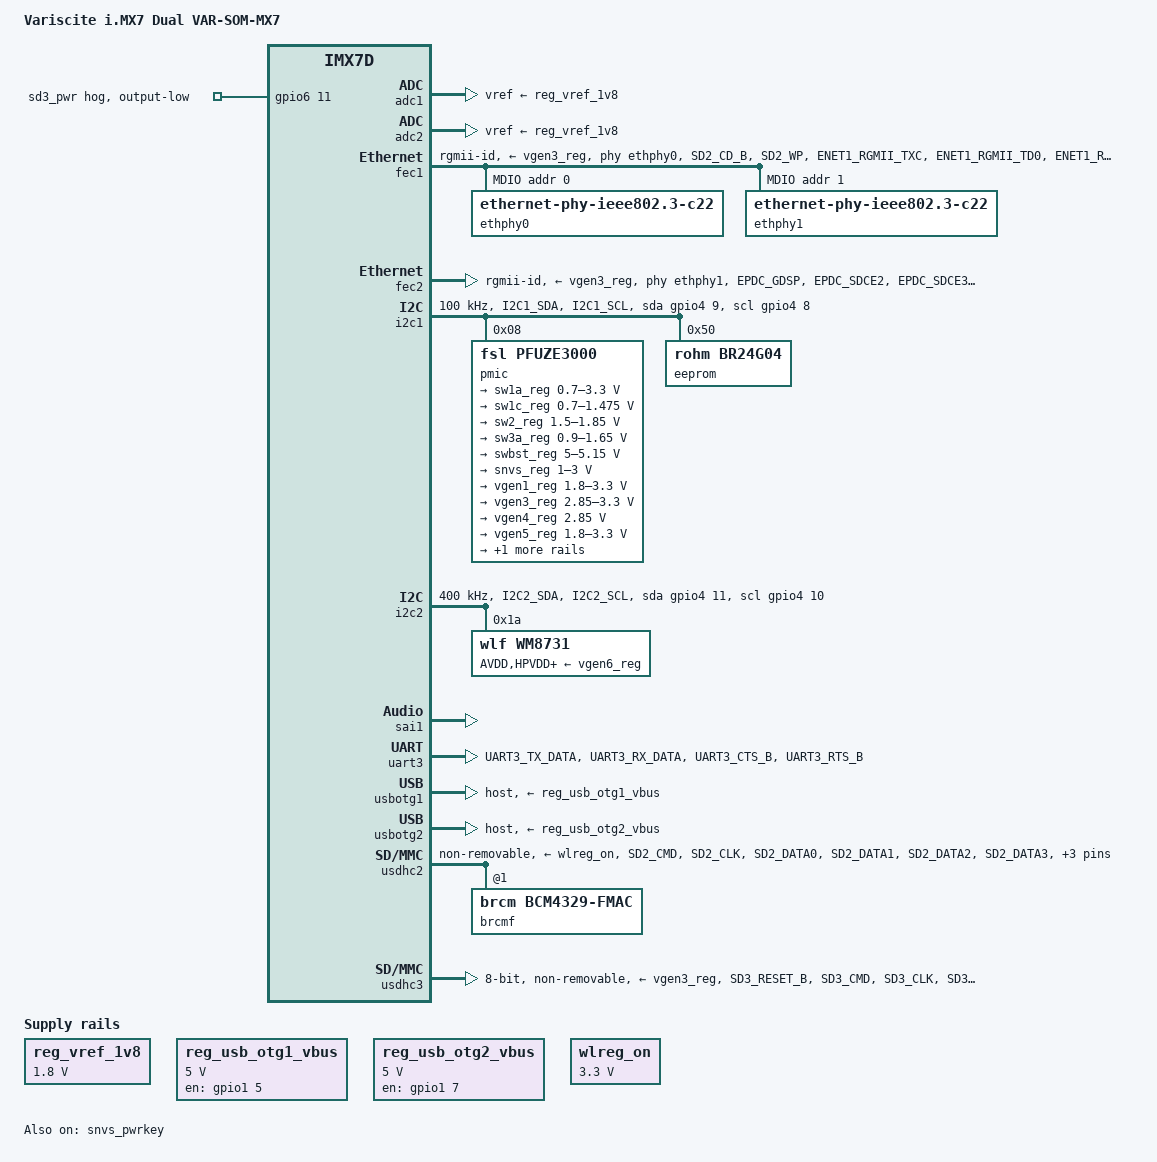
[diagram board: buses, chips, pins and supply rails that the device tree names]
// SPDX-License-Identifier: GPL-2.0-only
/*
 * Copyright (C) 2015 Freescale Semiconductor, Inc.
 * Copyright (C) 2016-2017 Variscite Ltd.
 * Copyright (C) 2022 Philipp Zabel, Pengutronix
 * Copyright (C) 2022 Roland Hieber, Pengutronix
 *
 * This program is free software; you can redistribute it and/or modify
 * it under the terms of the GNU General Public License version 2 as
 * published by the Free Software Foundation.
 */

#include <dt-bindings/input/input.h>
#include "imx7d.kernel.dtsi"

/ {
	model = "Variscite i.MX7 Dual VAR-SOM-MX7";
	compatible = "variscite,var-som-mx7", "fsl,imx7d";

	reg_vref_1v8: regulator-vref-1v8 {
		compatible = "regulator-fixed";
		regulator-name = "vref-1v8";
		regulator-min-microvolt = <1800000>;
		regulator-max-microvolt = <1800000>;
	};

	reg_usb_otg1_vbus: regulator-usbotg1-vbus {
		compatible = "regulator-fixed";
		pinctrl-names = "default";
		pinctrl-0 = <&pinctrl_usbotg1_vbus>;
		regulator-name = "usb_otg1_vbus";
		regulator-min-microvolt = <5000000>;
		regulator-max-microvolt = <5000000>;
		gpio = <&gpio1 5 GPIO_ACTIVE_HIGH>;
		enable-active-high;
	};

	reg_usb_otg2_vbus: regulator-usbotg2-vbus {
		compatible = "regulator-fixed";
		pinctrl-names = "default";
		pinctrl-0 = <&pinctrl_usbotg2_vbus>;
		regulator-name = "usb_otg2_vbus";
		regulator-min-microvolt = <5000000>;
		regulator-max-microvolt = <5000000>;
		gpio = <&gpio1 7 GPIO_ACTIVE_HIGH>;
		enable-active-high;
	};

	wlreg_on: regulator-wlreg-on {
		compatible = "regulator-fixed";
		regulator-min-microvolt = <3300000>;
		regulator-max-microvolt = <3300000>;
		regulator-name = "wlreg_on";
	};

	sound {
		compatible = "simple-audio-card";
		simple-audio-card,name = "wm8731audio";
		simple-audio-card,widgets =
			"Headphone", "Headphone Jack",
			"Line", "Line Jack",
			"Microphone", "Mic Jack";
		simple-audio-card,routing =
			"Headphone Jack", "RHPOUT",
			"Headphone Jack", "LHPOUT",
			"LLINEIN", "Line Jack",
			"RLINEIN", "Line Jack",
			"MICIN", "Mic Bias",
			"Mic Bias", "Mic Jack";
		simple-audio-card,format = "i2s";
		simple-audio-card,bitclock-master = <&sound_master>;
		simple-audio-card,frame-master = <&sound_master>;

		sound_master: simple-audio-card,cpu {
			sound-dai = <&sai1>;
		};

		simple-audio-card,codec {
			sound-dai = <&wm8731>;
			system-clock-frequency = <12288000>;
		};
	};
};

&adc1 {
	vref-supply = <&reg_vref_1v8>;
};

&adc2 {
	vref-supply = <&reg_vref_1v8>;
};

&cpu0 {
	cpu-supply = <&sw1a_reg>;
};

&cpu1 {
	cpu-supply = <&sw1a_reg>;
};

&fec1 {
	pinctrl-names = "default";
	pinctrl-0 = <&pinctrl_enet1>;
	phy-supply = <&vgen3_reg>;
	assigned-clocks = <&clks IMX7D_ENET_PHY_REF_ROOT_SRC>,
			  <&clks IMX7D_ENET_AXI_ROOT_SRC>,
			  <&clks IMX7D_ENET1_TIME_ROOT_SRC>,
			  <&clks IMX7D_ENET1_TIME_ROOT_CLK>,
			  <&clks IMX7D_ENET_AXI_ROOT_CLK>;
	assigned-clock-parents = <&clks IMX7D_PLL_ENET_MAIN_25M_CLK>,
				 <&clks IMX7D_PLL_ENET_MAIN_250M_CLK>,
				 <&clks IMX7D_PLL_ENET_MAIN_100M_CLK>;
	assigned-clock-rates = <0>, <0>, <0>, <100000000>, <250000000>;
	phy-mode = "rgmii-id";
	phy-handle = <&ethphy0>;
	phy-reset-gpios = <&gpio5 11 GPIO_ACTIVE_LOW>;
	phy-reset-post-delay = <20>;

	mdio {
		#address-cells = <1>;
		#size-cells = <0>;

		ethphy0: ethernet-phy@0 {
			compatible = "ethernet-phy-ieee802.3-c22";
			reg = <0>;
		};

		ethphy1: ethernet-phy@1 {
			compatible = "ethernet-phy-ieee802.3-c22";
			reg = <1>;
		};
	};
};

&fec2 {
	pinctrl-names = "default";
	pinctrl-0 = <&pinctrl_enet2>;
	phy-supply = <&vgen3_reg>;
	assigned-clocks = <&clks IMX7D_ENET_PHY_REF_ROOT_SRC>,
			  <&clks IMX7D_ENET_AXI_ROOT_SRC>,
			  <&clks IMX7D_ENET2_TIME_ROOT_SRC>,
			  <&clks IMX7D_ENET2_TIME_ROOT_CLK>,
			  <&clks IMX7D_ENET_AXI_ROOT_CLK>;
	assigned-clock-parents = <&clks IMX7D_PLL_ENET_MAIN_25M_CLK>,
				 <&clks IMX7D_PLL_ENET_MAIN_250M_CLK>,
				 <&clks IMX7D_PLL_ENET_MAIN_100M_CLK>;
	assigned-clock-rates = <0>, <0>, <0>, <100000000>, <250000000>;
	phy-mode = "rgmii-id";
	phy-handle = <&ethphy1>;
	phy-reset-gpios = <&gpio4 3 GPIO_ACTIVE_LOW>;
	phy-reset-post-delay = <20>;
};

&gpio6 {
	sd3-pwr-hog {
		gpio-hog;
		gpios = <11 0>;
		output-low;
		line-name = "sd3_pwr";
	};
};

&i2c1 {
	clock-frequency = <100000>;
	pinctrl-names = "default", "gpio";
	pinctrl-0 = <&pinctrl_i2c1>;
	pinctrl-1 = <&pinctrl_i2c1_gpio>;
	scl-gpios = <&gpio4 8 (GPIO_ACTIVE_HIGH | GPIO_OPEN_DRAIN)>;
	sda-gpios = <&gpio4 9 (GPIO_ACTIVE_HIGH | GPIO_OPEN_DRAIN)>;
	status = "okay";

	pmic@8 {
		compatible = "fsl,pfuze3000";
		reg = <0x08>;

		regulators {
			sw1a_reg: sw1a {
				regulator-min-microvolt = <700000>;
				regulator-max-microvolt = <3300000>;
				regulator-boot-on;
				regulator-always-on;
				regulator-ramp-delay = <6250>;
			};

			/* use sw1c_reg to align with pfuze100/pfuze200 */
			sw1c_reg: sw1b {
				regulator-min-microvolt = <700000>;
				regulator-max-microvolt = <1475000>;
				regulator-boot-on;
				regulator-always-on;
				regulator-ramp-delay = <6250>;
			};

			sw2_reg: sw2 {
				regulator-min-microvolt = <1500000>;
				regulator-max-microvolt = <1850000>;
				regulator-boot-on;
				regulator-always-on;
			};

			sw3a_reg: sw3 {
				regulator-min-microvolt = <900000>;
				regulator-max-microvolt = <1650000>;
				regulator-boot-on;
				regulator-always-on;
			};

			swbst_reg: swbst {
				regulator-min-microvolt = <5000000>;
				regulator-max-microvolt = <5150000>;
			};

			snvs_reg: vsnvs {
				regulator-min-microvolt = <1000000>;
				regulator-max-microvolt = <3000000>;
				regulator-boot-on;
				regulator-always-on;
			};

			vref_reg: vrefddr {
				regulator-boot-on;
				regulator-always-on;
			};

			vgen1_reg: vldo1 {
				regulator-min-microvolt = <1800000>;
				regulator-max-microvolt = <3300000>;
				regulator-always-on;
			};

			vgen2_reg: vldo2 {
				status = "disabled";
			};

			vgen3_reg: vccsd {
				regulator-min-microvolt = <2850000>;
				regulator-max-microvolt = <3300000>;
				regulator-boot-on;

				regulator-state-mem {
					regulator-off-in-suspend;
				};
			};

			vgen4_reg: v33 {
				regulator-min-microvolt = <2850000>;
				regulator-max-microvolt = <2850000>;
				regulator-always-on;
			};

			vgen5_reg: vldo3 {
				regulator-min-microvolt = <1800000>;
				regulator-max-microvolt = <3300000>;
				regulator-always-on;
			};

			vgen6_reg: vldo4 {
				regulator-min-microvolt = <1800000>;
				regulator-max-microvolt = <3300000>;
				regulator-always-on;
			};
		};
	};

	eeprom@50 {
		compatible = "rohm,br24g04", "atmel,24c04";
		reg = <0x50>;
		pagesize = <16>;
		num-addresses = <2>;
		address-width = <8>;
		read-only;
	};
};

&i2c2 {
	clock-frequency = <400000>;
	pinctrl-names = "default", "gpio";
	pinctrl-0 = <&pinctrl_i2c2>;
	pinctrl-1 = <&pinctrl_i2c2_gpio>;
	scl-gpios = <&gpio4 10 (GPIO_ACTIVE_HIGH | GPIO_OPEN_DRAIN)>;
	sda-gpios = <&gpio4 11 (GPIO_ACTIVE_HIGH | GPIO_OPEN_DRAIN)>;
	status = "okay";

	wm8731: wm8731@1a {
		#sound-dai-cells = <0>;
		AVDD-supply = <&vgen6_reg>;
		HPVDD-supply = <&vgen6_reg>;
		DBVDD-supply = <&vgen6_reg>;
		DCVDD-supply = <&vgen6_reg>;
		compatible = "wlf,wm8731";
		reg = <0x1a>;
		clocks = <&clks IMX7D_AUDIO_MCLK_ROOT_CLK>;
		clock-names = "mclk";
		assigned-clocks = <&clks IMX7D_AUDIO_MCLK_ROOT_SRC>,
				  <&clks IMX7D_PLL_AUDIO_POST_DIV>,
				  <&clks IMX7D_AUDIO_MCLK_ROOT_DIV>;
		assigned-clock-parents = <&clks IMX7D_PLL_AUDIO_POST_DIV>;
		assigned-clock-rates = <0>, <884736000>, <12288000>;
	};
};

&sai1 {
	assigned-clocks = <&clks IMX7D_AUDIO_MCLK_ROOT_SRC>,
			  <&clks IMX7D_PLL_AUDIO_POST_DIV>,
			  <&clks IMX7D_AUDIO_MCLK_ROOT_DIV>;
	assigned-clock-parents = <&clks IMX7D_PLL_AUDIO_POST_DIV>;
	assigned-clock-rates = <0>, <884736000>, <12288000>;
	status = "okay";
};

&snvs_pwrkey {
	status = "okay";
};

&snvs_rtc {
	status = "disabled";
};

&uart1 {
	assigned-clocks = <&clks IMX7D_UART1_ROOT_SRC>;
	assigned-clock-parents = <&clks IMX7D_OSC_24M_CLK>;
};

&uart2 {
	assigned-clocks = <&clks IMX7D_UART2_ROOT_SRC>;
	assigned-clock-parents = <&clks IMX7D_OSC_24M_CLK>;
};

&uart3 {
	assigned-clocks = <&clks IMX7D_UART3_ROOT_SRC>;
	assigned-clock-parents = <&clks IMX7D_PLL_SYS_MAIN_240M_CLK>;
	pinctrl-names = "default";
	pinctrl-0 = <&pinctrl_uart3>;
	uart-has-rtscts;
	status = "okay";
};

&usbotg1 {
	vbus-supply = <&reg_usb_otg1_vbus>;
	dr_mode = "host";
};

&usbotg2 {
	vbus-supply = <&reg_usb_otg2_vbus>;
	dr_mode = "host";
};

&usdhc2 {
	#address-cells = <1>;
	#size-cells = <0>;
	pinctrl-names = "default", "state_100mhz", "state_200mhz", "sleep";
	pinctrl-0 = <&pinctrl_usdhc2>, <&pinctrl_wlan>, <&pinctrl_bt>;
	pinctrl-1 = <&pinctrl_usdhc2_100mhz>, <&pinctrl_wlan>, <&pinctrl_bt>;
	pinctrl-2 = <&pinctrl_usdhc2_200mhz>, <&pinctrl_wlan>, <&pinctrl_bt>;
	pinctrl-3 = <&pinctrl_usdhc2_sleep>, <&pinctrl_wlan_sleep>, <&pinctrl_bt_sleep>;
	keep-power-in-suspend;
	non-removable;
	vmmc-supply = <&wlreg_on>;
	status = "okay";

	brcmf: wifi@1 {
		reg = <1>;
		compatible = "brcm,bcm4329-fmac";
	};
};

/* eMMC */
&usdhc3 {
	pinctrl-names = "default", "state_100mhz", "state_200mhz";
	pinctrl-0 = <&pinctrl_usdhc3_ctrl>, <&pinctrl_usdhc3>;
	pinctrl-1 = <&pinctrl_usdhc3_ctrl>, <&pinctrl_usdhc3_100mhz>;
	pinctrl-2 = <&pinctrl_usdhc3_ctrl>, <&pinctrl_usdhc3_200mhz>;
	vmmc-supply = <&vgen3_reg>;
	assigned-clocks = <&clks IMX7D_USDHC3_ROOT_CLK>;
	assigned-clock-rates = <400000000>;
	no-1-8-v;
	no-sdio;
	no-sd;
	bus-width = <8>;
	non-removable;
	status = "okay";
};

&wdog1 {
	pinctrl-names = "default";
	pinctrl-0 = <&pinctrl_wdog>;
	fsl,ext-reset-output;
};

&iomuxc_lpsr {
	pinctrl_usbotg1_vbus: usbotg1-vbusgrp {
		fsl,pins = <
			MX7D_PAD_LPSR_GPIO1_IO05__GPIO1_IO5		0x14
		>;
	};

	pinctrl_usbotg2_vbus: usbotg2-vbusgrp {
		fsl,pins = <
			MX7D_PAD_LPSR_GPIO1_IO07__GPIO1_IO7		0x14
		>;
	};

	pinctrl_wdog: wdoggrp {
		fsl,pins = <
			MX7D_PAD_LPSR_GPIO1_IO00__WDOG1_WDOG_B		0x74
		>;
	};

	pinctrl_wlan: wlangrp {
		fsl,pins = <
			MX7D_PAD_LPSR_GPIO1_IO04__GPIO1_IO4		0x09 /* WL_REG_ON */
			MX7D_PAD_LPSR_GPIO1_IO03__OSC32K_32K_OUT	0xb0 /* WIFI Slow clock */
		>;
	};

	pinctrl_wlan_sleep: wlan-sleepgrp {
		fsl,pins = <
			MX7D_PAD_LPSR_GPIO1_IO04__GPIO1_IO4		0x10 /* WL_REG_ON */
			MX7D_PAD_LPSR_GPIO1_IO03__OSC32K_32K_OUT	0x10 /* WIFI Slow clock */
		>;
	};
};

&iomuxc {

	pinctrl_bt: btgrp {
		fsl,pins = <
			MX7D_PAD_GPIO1_IO14__GPIO1_IO14		0x80000000  /* bt reg on */
		>;
	};

	pinctrl_bt_sleep: bt-sleepgrp {
		fsl,pins = <
			MX7D_PAD_GPIO1_IO14__GPIO1_IO14			0x10  /* bt reg on */
		>;
	};

	pinctrl_enet1: enet1grp {
		fsl,pins = <
			MX7D_PAD_SD2_CD_B__ENET1_MDIO			0x3
			MX7D_PAD_SD2_WP__ENET1_MDC			0x3
			MX7D_PAD_ENET1_RGMII_TXC__ENET1_RGMII_TXC	0x1
			MX7D_PAD_ENET1_RGMII_TD0__ENET1_RGMII_TD0	0x1
			MX7D_PAD_ENET1_RGMII_TD1__ENET1_RGMII_TD1	0x1
			MX7D_PAD_ENET1_RGMII_TD2__ENET1_RGMII_TD2	0x1
			MX7D_PAD_ENET1_RGMII_TD3__ENET1_RGMII_TD3	0x1
			MX7D_PAD_ENET1_RGMII_TX_CTL__ENET1_RGMII_TX_CTL	0x1
			MX7D_PAD_ENET1_RGMII_RXC__ENET1_RGMII_RXC	0x1
			MX7D_PAD_ENET1_RGMII_RD0__ENET1_RGMII_RD0	0x1
			MX7D_PAD_ENET1_RGMII_RD1__ENET1_RGMII_RD1	0x1
			MX7D_PAD_ENET1_RGMII_RD2__ENET1_RGMII_RD2	0x1
			MX7D_PAD_ENET1_RGMII_RD3__ENET1_RGMII_RD3	0x1
			MX7D_PAD_ENET1_RGMII_RX_CTL__ENET1_RGMII_RX_CTL	0x1
			MX7D_PAD_SD2_RESET_B__GPIO5_IO11	0x59  /* ethphy0 reset */
		>;
	};

	pinctrl_enet2: enet2grp {
		fsl,pins = <
			MX7D_PAD_EPDC_GDSP__ENET2_RGMII_TXC		0x1
			MX7D_PAD_EPDC_SDCE2__ENET2_RGMII_TD0		0x1
			MX7D_PAD_EPDC_SDCE3__ENET2_RGMII_TD1		0x1
			MX7D_PAD_EPDC_GDCLK__ENET2_RGMII_TD2		0x1
			MX7D_PAD_EPDC_GDOE__ENET2_RGMII_TD3		0x1
			MX7D_PAD_EPDC_GDRL__ENET2_RGMII_TX_CTL		0x1
			MX7D_PAD_EPDC_SDCE1__ENET2_RGMII_RXC		0x1
			MX7D_PAD_EPDC_SDCLK__ENET2_RGMII_RD0		0x1
			MX7D_PAD_EPDC_SDLE__ENET2_RGMII_RD1		0x1
			MX7D_PAD_EPDC_SDOE__ENET2_RGMII_RD2		0x1
			MX7D_PAD_EPDC_SDSHR__ENET2_RGMII_RD3		0x1
			MX7D_PAD_EPDC_SDCE0__ENET2_RGMII_RX_CTL		0x1
			MX7D_PAD_UART2_TX_DATA__GPIO4_IO3	0x59  /* ethphy1 reset */
		>;
	};

	pinctrl_i2c1: i2c1grp {
		fsl,pins = <
			MX7D_PAD_I2C1_SDA__I2C1_SDA	0x4000007f
			MX7D_PAD_I2C1_SCL__I2C1_SCL	0x4000007f
		>;
	};

	pinctrl_i2c1_gpio: i2c1gpiogrp {
		fsl,pins = <
			MX7D_PAD_I2C1_SDA__GPIO4_IO9	0x4000007f
			MX7D_PAD_I2C1_SCL__GPIO4_IO8	0x4000007f
		>;
	};

	pinctrl_i2c2: i2c2grp {
		fsl,pins = <
			MX7D_PAD_I2C2_SDA__I2C2_SDA	0x4000007f
			MX7D_PAD_I2C2_SCL__I2C2_SCL	0x4000007f
		>;
	};

	pinctrl_i2c2_gpio: i2c2gpiogrp {
		fsl,pins = <
			MX7D_PAD_I2C2_SDA__GPIO4_IO11	0x4000007f
			MX7D_PAD_I2C2_SCL__GPIO4_IO10	0x4000007f
		>;
	};

	pinctrl_uart3: uart3grp {
		fsl,pins = <
			MX7D_PAD_UART3_TX_DATA__UART3_DCE_TX    0x79
			MX7D_PAD_UART3_RX_DATA__UART3_DCE_RX    0x79
			MX7D_PAD_UART3_CTS_B__UART3_DCE_CTS     0x79
			MX7D_PAD_UART3_RTS_B__UART3_DCE_RTS     0x79
		>;
	};

	pinctrl_usdhc2: usdhc2grp {
		fsl,pins = <
			MX7D_PAD_SD2_CMD__SD2_CMD		0x59
			MX7D_PAD_SD2_CLK__SD2_CLK		0x19
			MX7D_PAD_SD2_DATA0__SD2_DATA0		0x59
			MX7D_PAD_SD2_DATA1__SD2_DATA1		0x59
			MX7D_PAD_SD2_DATA2__SD2_DATA2		0x59
			MX7D_PAD_SD2_DATA3__SD2_DATA3		0x59
		>;
	};

	pinctrl_usdhc2_100mhz: usdhc2-100mhzgrp {
		fsl,pins = <
			MX7D_PAD_SD2_CMD__SD2_CMD		0x5a
			MX7D_PAD_SD2_CLK__SD2_CLK		0x1a
			MX7D_PAD_SD2_DATA0__SD2_DATA0		0x5a
			MX7D_PAD_SD2_DATA1__SD2_DATA1		0x5a
			MX7D_PAD_SD2_DATA2__SD2_DATA2		0x5a
			MX7D_PAD_SD2_DATA3__SD2_DATA3		0x5a
		>;
	};

	pinctrl_usdhc2_200mhz: usdhc2-200mhzgrp {
		fsl,pins = <
			MX7D_PAD_SD2_CMD__SD2_CMD		0x5b
			MX7D_PAD_SD2_CLK__SD2_CLK		0x1b
			MX7D_PAD_SD2_DATA0__SD2_DATA0		0x5b
			MX7D_PAD_SD2_DATA1__SD2_DATA1		0x5b
			MX7D_PAD_SD2_DATA2__SD2_DATA2		0x5b
			MX7D_PAD_SD2_DATA3__SD2_DATA3		0x5b
		>;
	};

	pinctrl_usdhc2_sleep: usdhc2-sleepgrp {
		fsl,pins = <
			MX7D_PAD_SD2_CMD__GPIO5_IO13		0x10
			MX7D_PAD_SD2_CLK__GPIO5_IO12		0x10
			MX7D_PAD_SD2_DATA0__GPIO5_IO14		0x10
			MX7D_PAD_SD2_DATA1__GPIO5_IO15		0x10
			MX7D_PAD_SD2_DATA2__GPIO5_IO16		0x10
			MX7D_PAD_SD2_DATA3__GPIO5_IO17		0x10
		>;
	};

	pinctrl_usdhc3_ctrl: usdhc3-ctrlgrp {
		fsl,pins = <
			MX7D_PAD_SD3_RESET_B__SD3_RESET_B	0x59
		>;
	};

	pinctrl_usdhc3: usdhc3grp {
		fsl,pins = <
			MX7D_PAD_SD3_CMD__SD3_CMD		0x59
			MX7D_PAD_SD3_CLK__SD3_CLK		0x19
			MX7D_PAD_SD3_DATA0__SD3_DATA0		0x59
			MX7D_PAD_SD3_DATA1__SD3_DATA1		0x59
			MX7D_PAD_SD3_DATA2__SD3_DATA2		0x59
			MX7D_PAD_SD3_DATA3__SD3_DATA3		0x59
			MX7D_PAD_SD3_DATA4__SD3_DATA4		0x59
			MX7D_PAD_SD3_DATA5__SD3_DATA5		0x59
			MX7D_PAD_SD3_DATA6__SD3_DATA6		0x59
			MX7D_PAD_SD3_DATA7__SD3_DATA7		0x59
		>;
	};

	pinctrl_usdhc3_100mhz: usdhc3-100mhzgrp {
		fsl,pins = <
			MX7D_PAD_SD3_CMD__SD3_CMD		0x5a
			MX7D_PAD_SD3_CLK__SD3_CLK		0x1a
			MX7D_PAD_SD3_DATA0__SD3_DATA0		0x5a
			MX7D_PAD_SD3_DATA1__SD3_DATA1		0x5a
			MX7D_PAD_SD3_DATA2__SD3_DATA2		0x5a
			MX7D_PAD_SD3_DATA3__SD3_DATA3		0x5a
			MX7D_PAD_SD3_DATA4__SD3_DATA4		0x5a
			MX7D_PAD_SD3_DATA5__SD3_DATA5		0x5a
			MX7D_PAD_SD3_DATA6__SD3_DATA6		0x5a
			MX7D_PAD_SD3_DATA7__SD3_DATA7		0x5a
		>;
	};

	pinctrl_usdhc3_200mhz: usdhc3-200mhzgrp {
		fsl,pins = <
			MX7D_PAD_SD3_CMD__SD3_CMD		0x5b
			MX7D_PAD_SD3_CLK__SD3_CLK		0x1b
			MX7D_PAD_SD3_DATA0__SD3_DATA0		0x5b
			MX7D_PAD_SD3_DATA1__SD3_DATA1		0x5b
			MX7D_PAD_SD3_DATA2__SD3_DATA2		0x5b
			MX7D_PAD_SD3_DATA3__SD3_DATA3		0x5b
			MX7D_PAD_SD3_DATA4__SD3_DATA4		0x5b
			MX7D_PAD_SD3_DATA5__SD3_DATA5		0x5b
			MX7D_PAD_SD3_DATA6__SD3_DATA6		0x5b
			MX7D_PAD_SD3_DATA7__SD3_DATA7		0x5b
		>;
	};
};
